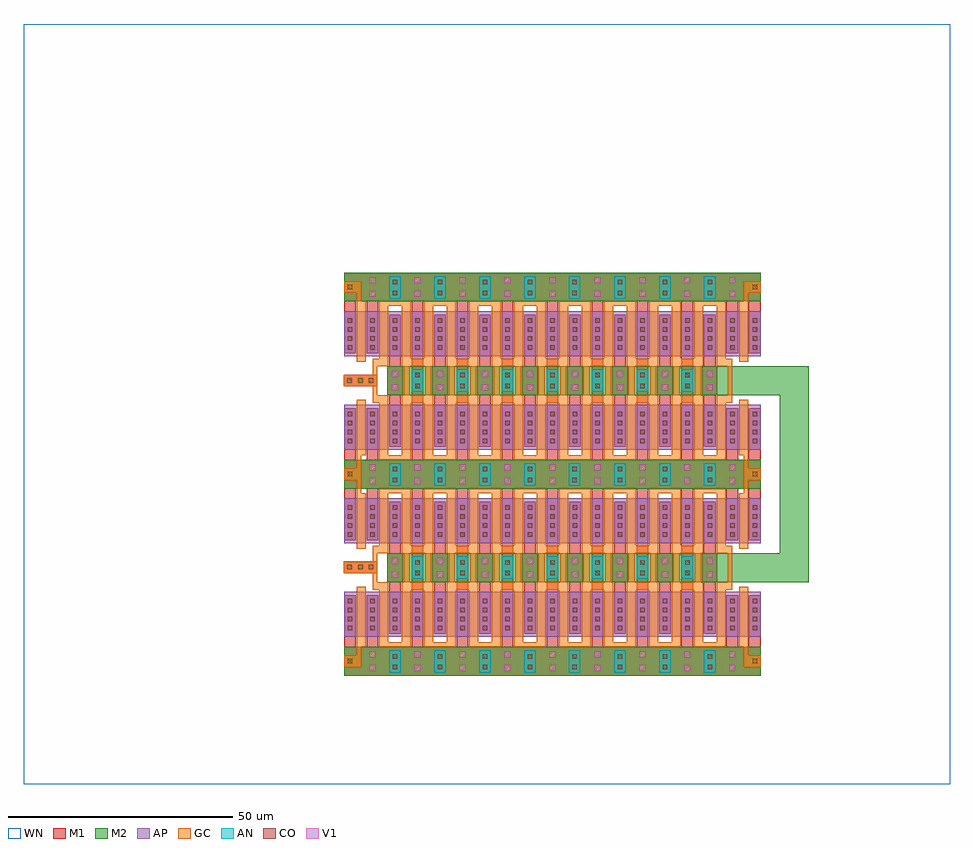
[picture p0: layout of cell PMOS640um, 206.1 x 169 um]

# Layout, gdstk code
import gdstk
lib = gdstk.Library(unit=1e-6, precision=1e-09)
def R(c, l, rs):  # rectangles x0, y0, x1, y1
    for r in rs: c.add(gdstk.rectangle(r[:2], r[2:], *l))
def A(c, l, x, y, w, h, nx, ny, dx, dy):  # array of equal rectangles
    R(c, l, [(x+i*dx, y+j*dy, x+i*dx+w, y+j*dy+h) for i in range(nx) for j in range(ny)])
AP = (3, 1)
AN = (3, 2)
GC = (8, 1)
CO = (11, 0)
M1 = (13, 0)
V1 = (19, 0)
M2 = (20, 0)
WN = (140, 0)

via_1 = lib.new_cell('via_1')
R(via_1, M1, [(-1.7,-1.7,1.7,1.7)])
R(via_1, V1, [(-0.7,-0.7,0.7,0.7)])
R(via_1, M2, [(-1.7,-1.7,1.7,1.7)])

cont_n = lib.new_cell('cont_n')
R(cont_n, AN, [(-1.3,-1.3,1.3,1.3)])
R(cont_n, CO, [(-0.5,-0.5,0.5,0.5)])
R(cont_n, M1, [(-1.3,-1.3,1.3,1.3)])

via_1_1 = lib.new_cell('via_1$1')
R(via_1_1, M1, [(-1.7,-1.7,1.7,1.7)])
R(via_1_1, V1, [(-0.7,-0.7,0.7,0.7)])
R(via_1_1, M2, [(-1.7,-1.7,1.7,1.7)])

fet_p_2 = lib.new_cell('fet_p$2')
R(fet_p_2, AP, [(-3.8,-5,3.8,5)])
A(fet_p_2, CO, -3, -3.5, 1, 1, 1, 4, 0, 2)
A(fet_p_2, CO, 2, -3.5, 1, 1, 1, 4, 0, 2)
R(fet_p_2, M1, [(-3.8,-4.3,-1.2,4.3), (1.2,-4.3,3.8,4.3)])
fet_p_2.add(gdstk.FlexPath([(0,-6.2),(0,6.2)], 2, ends="flush", simple_path=True, layer=8, datatype=1))  # GC

fet_p = lib.new_cell('fet_p')
R(fet_p, AP, [(-41.3,-5,41.3,5)])
A(fet_p, CO, -40.5, -3.5, 1, 1, 17, 4, 5, 2)
A(fet_p, M1, -41.3, -4.3, 2.6, 8.6, 17, 1, 5, 0)
fet_p.add(gdstk.FlexPath([(2.5,-6.2),(2.5,6.2)], 2, ends="flush", simple_path=True, layer=8, datatype=1))  # GC
fet_p.add(gdstk.FlexPath([(-2.5,-6.2),(-2.5,6.2)], 2, ends="flush", simple_path=True, layer=8, datatype=1))  # GC
fet_p.add(gdstk.FlexPath([(7.5,-6.2),(7.5,6.2)], 2, ends="flush", simple_path=True, layer=8, datatype=1))  # GC
fet_p.add(gdstk.FlexPath([(-7.5,-6.2),(-7.5,6.2)], 2, ends="flush", simple_path=True, layer=8, datatype=1))  # GC
fet_p.add(gdstk.FlexPath([(12.5,-6.2),(12.5,6.2)], 2, ends="flush", simple_path=True, layer=8, datatype=1))  # GC
fet_p.add(gdstk.FlexPath([(-12.5,-6.2),(-12.5,6.2)], 2, ends="flush", simple_path=True, layer=8, datatype=1))  # GC
fet_p.add(gdstk.FlexPath([(17.5,-6.2),(17.5,6.2)], 2, ends="flush", simple_path=True, layer=8, datatype=1))  # GC
fet_p.add(gdstk.FlexPath([(-17.5,-6.2),(-17.5,6.2)], 2, ends="flush", simple_path=True, layer=8, datatype=1))  # GC
fet_p.add(gdstk.FlexPath([(22.5,-6.2),(22.5,6.2)], 2, ends="flush", simple_path=True, layer=8, datatype=1))  # GC
fet_p.add(gdstk.FlexPath([(-22.5,-6.2),(-22.5,6.2)], 2, ends="flush", simple_path=True, layer=8, datatype=1))  # GC
fet_p.add(gdstk.FlexPath([(27.5,-6.2),(27.5,6.2)], 2, ends="flush", simple_path=True, layer=8, datatype=1))  # GC
fet_p.add(gdstk.FlexPath([(-27.5,-6.2),(-27.5,6.2)], 2, ends="flush", simple_path=True, layer=8, datatype=1))  # GC
fet_p.add(gdstk.FlexPath([(32.5,-6.2),(32.5,6.2)], 2, ends="flush", simple_path=True, layer=8, datatype=1))  # GC
fet_p.add(gdstk.FlexPath([(-32.5,-6.2),(-32.5,6.2)], 2, ends="flush", simple_path=True, layer=8, datatype=1))  # GC
fet_p.add(gdstk.FlexPath([(37.5,-6.2),(37.5,6.2)], 2, ends="flush", simple_path=True, layer=8, datatype=1))  # GC
fet_p.add(gdstk.FlexPath([(-37.5,-6.2),(-37.5,6.2)], 2, ends="flush", simple_path=True, layer=8, datatype=1))  # GC

pmos320um = lib.new_cell('PMOS320um')
A(pmos320um, GC, -38.5, -17.6, 7, 1, 8, 2, 10, 34.2)
A(pmos320um, GC, -33.5, -4.9, 7, 1.7, 7, 2, 10, 8.1)
R(pmos320um, GC, [(-40,-4.9,-36.5,-3.2), (36.5,-4.9,40,-3.2), (-40,3.2,-36.5,4.9), (36.5,3.2,40,4.9)])
pmos320um.add(gdstk.FlexPath([(40,-17.6),(40,-14.7)], 2.6, ends="flush", simple_path=True, layer=13, datatype=0))  # M1
pmos320um.add(gdstk.FlexPath([(45,-17.6),(45,-14.7)], 2.6, ends="flush", simple_path=True, layer=13, datatype=0))  # M1
pmos320um.add(gdstk.FlexPath([(-10,-17.6),(-10,-14.7)], 2.6, ends="flush", simple_path=True, layer=13, datatype=0))  # M1
pmos320um.add(gdstk.FlexPath([(-30,-17.6),(-30,-14.7)], 2.6, ends="flush", simple_path=True, layer=13, datatype=0))  # M1
pmos320um.add(gdstk.FlexPath([(-20,-17.6),(-20,-14.7)], 2.6, ends="flush", simple_path=True, layer=13, datatype=0))  # M1
pmos320um.add(gdstk.FlexPath([(-45,-17.6),(-45,-14.7)], 2.6, ends="flush", simple_path=True, layer=13, datatype=0))  # M1
pmos320um.add(gdstk.FlexPath([(-40,-17.6),(-40,-14.7)], 2.6, ends="flush", simple_path=True, layer=13, datatype=0))  # M1
pmos320um.add(gdstk.FlexPath([(0,-17.6),(0,-14.7)], 2.6, ends="flush", simple_path=True, layer=13, datatype=0))  # M1
pmos320um.add(gdstk.FlexPath([(20,-17.6),(20,-14.7)], 2.6, ends="flush", simple_path=True, layer=13, datatype=0))  # M1
pmos320um.add(gdstk.FlexPath([(30,-17.6),(30,-14.7)], 2.6, ends="flush", simple_path=True, layer=13, datatype=0))  # M1
pmos320um.add(gdstk.FlexPath([(10,-17.6),(10,-14.7)], 2.6, ends="flush", simple_path=True, layer=13, datatype=0))  # M1
pmos320um.add(gdstk.FlexPath([(30,-6.1),(30,-2.5),(30,-2.5)], 2.6, ends="flush", simple_path=True, layer=13, datatype=0))  # M1
pmos320um.add(gdstk.FlexPath([(30,2.5),(30,6.1)], 2.6, ends="flush", simple_path=True, layer=13, datatype=0))  # M1
pmos320um.add(gdstk.FlexPath([(20,-6.1),(20,-2.5),(20,-2.5)], 2.6, ends="flush", simple_path=True, layer=13, datatype=0))  # M1
pmos320um.add(gdstk.FlexPath([(20,2.5),(20,6.1)], 2.6, ends="flush", simple_path=True, layer=13, datatype=0))  # M1
pmos320um.add(gdstk.FlexPath([(10,-6.1),(10,-2.5),(10,-2.5)], 2.6, ends="flush", simple_path=True, layer=13, datatype=0))  # M1
pmos320um.add(gdstk.FlexPath([(10,2.5),(10,6.1)], 2.6, ends="flush", simple_path=True, layer=13, datatype=0))  # M1
pmos320um.add(gdstk.FlexPath([(0,-6.1),(0,-2.5),(0,-2.5)], 2.6, ends="flush", simple_path=True, layer=13, datatype=0))  # M1
pmos320um.add(gdstk.FlexPath([(0,2.5),(0,6.1)], 2.6, ends="flush", simple_path=True, layer=13, datatype=0))  # M1
pmos320um.add(gdstk.FlexPath([(-10,-6.1),(-10,-2.5),(-10,-2.5)], 2.6, ends="flush", simple_path=True, layer=13, datatype=0))  # M1
pmos320um.add(gdstk.FlexPath([(-10,2.5),(-10,6.1)], 2.6, ends="flush", simple_path=True, layer=13, datatype=0))  # M1
pmos320um.add(gdstk.FlexPath([(-20,-6.1),(-20,-2.5),(-20,-2.5)], 2.6, ends="flush", simple_path=True, layer=13, datatype=0))  # M1
pmos320um.add(gdstk.FlexPath([(-20,2.5),(-20,6.1)], 2.6, ends="flush", simple_path=True, layer=13, datatype=0))  # M1
pmos320um.add(gdstk.FlexPath([(-30,-6.1),(-30,-2.5),(-30,-2.5)], 2.6, ends="flush", simple_path=True, layer=13, datatype=0))  # M1
pmos320um.add(gdstk.FlexPath([(-30,2.5),(-30,6.1)], 2.6, ends="flush", simple_path=True, layer=13, datatype=0))  # M1
pmos320um.add(gdstk.FlexPath([(-40,18.5),(-40,14.7)], 2.6, ends="flush", simple_path=True, layer=13, datatype=0))  # M1
pmos320um.add(gdstk.FlexPath([(-45,18.5),(-45,14.7)], 2.6, ends="flush", simple_path=True, layer=13, datatype=0))  # M1
pmos320um.add(gdstk.FlexPath([(-30,14.7),(-30,18.5)], 2.6, ends="flush", simple_path=True, layer=13, datatype=0))  # M1
pmos320um.add(gdstk.FlexPath([(-20,18.5),(-20,14.7)], 2.6, ends="flush", simple_path=True, layer=13, datatype=0))  # M1
pmos320um.add(gdstk.FlexPath([(-10,18.5),(-10,14.7)], 2.6, ends="flush", simple_path=True, layer=13, datatype=0))  # M1
pmos320um.add(gdstk.FlexPath([(0,14.7),(0,18.5)], 2.6, ends="flush", simple_path=True, layer=13, datatype=0))  # M1
pmos320um.add(gdstk.FlexPath([(10,18.5),(10,14.7)], 2.6, ends="flush", simple_path=True, layer=13, datatype=0))  # M1
pmos320um.add(gdstk.FlexPath([(20,14.7),(20,18.5)], 2.6, ends="flush", simple_path=True, layer=13, datatype=0))  # M1
pmos320um.add(gdstk.FlexPath([(30,18.5),(30,14.7)], 2.6, ends="flush", simple_path=True, layer=13, datatype=0))  # M1
pmos320um.add(gdstk.FlexPath([(40,18.5),(40,14.7)], 2.6, ends="flush", simple_path=True, layer=13, datatype=0))  # M1
pmos320um.add(gdstk.FlexPath([(45,14.7),(45,18.5)], 2.6, ends="flush", simple_path=True, layer=13, datatype=0))  # M1
pmos320um.add(gdstk.FlexPath([(35,-6.1),(35,-3.2)], 2.6, ends="flush", simple_path=True, layer=13, datatype=0))  # M1
pmos320um.add(gdstk.FlexPath([(35,3.2),(35,6.1)], 2.6, ends="flush", simple_path=True, layer=13, datatype=0))  # M1
pmos320um.add(gdstk.FlexPath([(25,-6.1),(25,-3.2)], 2.6, ends="flush", simple_path=True, layer=13, datatype=0))  # M1
pmos320um.add(gdstk.FlexPath([(25,3.2),(25,6.1)], 2.6, ends="flush", simple_path=True, layer=13, datatype=0))  # M1
pmos320um.add(gdstk.FlexPath([(15,-6.1),(15,-3.2)], 2.6, ends="flush", simple_path=True, layer=13, datatype=0))  # M1
pmos320um.add(gdstk.FlexPath([(15,3.2),(15,6.1)], 2.6, ends="flush", simple_path=True, layer=13, datatype=0))  # M1
pmos320um.add(gdstk.FlexPath([(5,-6.1),(5,-3.2)], 2.6, ends="flush", simple_path=True, layer=13, datatype=0))  # M1
pmos320um.add(gdstk.FlexPath([(5,3.2),(5,6.1)], 2.6, ends="flush", simple_path=True, layer=13, datatype=0))  # M1
pmos320um.add(gdstk.FlexPath([(-5,-6.1),(-5,-3.2)], 2.6, ends="flush", simple_path=True, layer=13, datatype=0))  # M1
pmos320um.add(gdstk.FlexPath([(-5,3.2),(-5,6.1)], 2.6, ends="flush", simple_path=True, layer=13, datatype=0))  # M1
pmos320um.add(gdstk.FlexPath([(-15,-6.1),(-15,-3.2)], 2.6, ends="flush", simple_path=True, layer=13, datatype=0))  # M1
pmos320um.add(gdstk.FlexPath([(-15,3.2),(-15,6.1)], 2.6, ends="flush", simple_path=True, layer=13, datatype=0))  # M1
pmos320um.add(gdstk.FlexPath([(-25,3.2),(-25,6.1)], 2.6, ends="flush", simple_path=True, layer=13, datatype=0))  # M1
pmos320um.add(gdstk.FlexPath([(-25,-6.1),(-25,-3.2)], 2.6, ends="flush", simple_path=True, layer=13, datatype=0))  # M1
pmos320um.add(gdstk.FlexPath([(-35,-6.1),(-35,-3.2)], 2.6, ends="flush", simple_path=True, layer=13, datatype=0))  # M1
pmos320um.add(gdstk.FlexPath([(-35,3.2),(-35,6.1)], 2.6, ends="flush", simple_path=True, layer=13, datatype=0))  # M1
pmos320um.add(gdstk.FlexPath([(-36.7,0),(36.7,0),(36.7,0)], 6.4, ends="flush", simple_path=True, layer=20, datatype=0))  # M2
pmos320um.add(gdstk.FlexPath([(-39.5,-3.2),(-39.5,3.2)], 1, ends="flush", simple_path=True, layer=8, datatype=1))  # GC
pmos320um.add(gdstk.FlexPath([(39.5,-3.2),(39.5,3.2)], 1, ends="flush", simple_path=True, layer=8, datatype=1))  # GC
pmos320um.add(gdstk.FlexPath([(17.6,-3.2),(17.6,3.2),(17.6,3.2)], 1.4, ends="flush", simple_path=True, layer=8, datatype=1))  # GC
pmos320um.add(gdstk.FlexPath([(22.4,-3.2),(22.4,3.2),(22.4,3.2)], 1.4, ends="flush", simple_path=True, layer=8, datatype=1))  # GC
pmos320um.add(gdstk.FlexPath([(7.6,-3.2),(7.6,3.2),(7.6,3.2)], 1.4, ends="flush", simple_path=True, layer=8, datatype=1))  # GC
pmos320um.add(gdstk.FlexPath([(12.4,-3.2),(12.4,3.2),(12.4,3.2)], 1.4, ends="flush", simple_path=True, layer=8, datatype=1))  # GC
pmos320um.add(gdstk.FlexPath([(27.6,-3.2),(27.6,3.2),(27.6,3.2)], 1.4, ends="flush", simple_path=True, layer=8, datatype=1))  # GC
pmos320um.add(gdstk.FlexPath([(32.4,-3.2),(32.4,3.2),(32.4,3.2)], 1.4, ends="flush", simple_path=True, layer=8, datatype=1))  # GC
pmos320um.add(gdstk.FlexPath([(-2.4,-3.2),(-2.4,3.2),(-2.4,3.2)], 1.4, ends="flush", simple_path=True, layer=8, datatype=1))  # GC
pmos320um.add(gdstk.FlexPath([(2.4,-3.2),(2.4,3.2),(2.4,3.2)], 1.4, ends="flush", simple_path=True, layer=8, datatype=1))  # GC
pmos320um.add(gdstk.FlexPath([(-12.4,-3.2),(-12.4,3.2),(-12.4,3.2)], 1.4, ends="flush", simple_path=True, layer=8, datatype=1))  # GC
pmos320um.add(gdstk.FlexPath([(-7.6,-3.2),(-7.6,3.2),(-7.6,3.2)], 1.4, ends="flush", simple_path=True, layer=8, datatype=1))  # GC
pmos320um.add(gdstk.FlexPath([(-22.4,-3.2),(-22.4,3.2),(-22.4,3.2)], 1.4, ends="flush", simple_path=True, layer=8, datatype=1))  # GC
pmos320um.add(gdstk.FlexPath([(-17.6,-3.2),(-17.6,3.2),(-17.6,3.2)], 1.4, ends="flush", simple_path=True, layer=8, datatype=1))  # GC
pmos320um.add(gdstk.FlexPath([(-32.4,-3.2),(-32.4,3.2),(-32.4,3.2)], 1.4, ends="flush", simple_path=True, layer=8, datatype=1))  # GC
pmos320um.add(gdstk.FlexPath([(-27.6,-3.2),(-27.6,3.2),(-27.6,3.2)], 1.4, ends="flush", simple_path=True, layer=8, datatype=1))  # GC
r = gdstk.Reference(cont_n, (30,-1.2)); r.repetition = gdstk.Repetition(1, 2, v1=(0,0), v2=(0,2.4)); pmos320um.add(r)
r = gdstk.Reference(via_1_1, (-35,1.5), x_reflection=True); r.repetition = gdstk.Repetition(8, 2, v1=(10,0), v2=(0,-3)); pmos320um.add(r)
pmos320um.add(gdstk.Reference(fet_p_2, (-42.5,10.4)))
pmos320um.add(gdstk.Reference(fet_p_2, (42.5,10.4)))
pmos320um.add(gdstk.Reference(fet_p, (0,10.4)))
pmos320um.add(gdstk.Reference(fet_p_2, (-42.5,-10.4), x_reflection=True))
pmos320um.add(gdstk.Reference(fet_p_2, (42.5,-10.4), x_reflection=True))
r = gdstk.Reference(cont_n, (20,-1.2)); r.repetition = gdstk.Repetition(1, 2, v1=(0,0), v2=(0,2.4)); pmos320um.add(r)
r = gdstk.Reference(cont_n, (10,-1.2)); r.repetition = gdstk.Repetition(1, 2, v1=(0,0), v2=(0,2.4)); pmos320um.add(r)
r = gdstk.Reference(cont_n, (0,-1.2)); r.repetition = gdstk.Repetition(1, 2, v1=(0,0), v2=(0,2.4)); pmos320um.add(r)
pmos320um.add(gdstk.Reference(fet_p, (0,-10.4), x_reflection=True))
r = gdstk.Reference(cont_n, (-10,-1.2)); r.repetition = gdstk.Repetition(1, 2, v1=(0,0), v2=(0,2.4)); pmos320um.add(r)
r = gdstk.Reference(cont_n, (-20,-1.2)); r.repetition = gdstk.Repetition(1, 2, v1=(0,0), v2=(0,2.4)); pmos320um.add(r)
r = gdstk.Reference(cont_n, (-30,-1.2)); r.repetition = gdstk.Repetition(1, 2, v1=(0,0), v2=(0,2.4)); pmos320um.add(r)

cont_n_1 = lib.new_cell('cont_n$1')
R(cont_n_1, AN, [(-1.3,-1.3,1.3,1.3)])
R(cont_n_1, CO, [(-0.5,-0.5,0.5,0.5)])
R(cont_n_1, M1, [(-1.3,-1.3,1.3,1.3)])

cont_g = lib.new_cell('cont_g')
R(cont_g, GC, [(-1.3,-1.3,1.3,1.3)])
R(cont_g, CO, [(-0.5,-0.5,0.5,0.5)])
R(cont_g, M1, [(-1.3,-1.3,1.3,1.3)])

pmos640um = lib.new_cell('PMOS640um')
A(pmos640um, GC, -43.7, -63.7, 0.2, 2.6, 1, 3, 0, 41.6)
A(pmos640um, GC, 43.5, -63.7, 0.2, 2.6, 1, 3, 0, 41.6)
R(pmos640um, GC, [(-43.5,-63.7,-42.5,-58.2), (42.5,-63.7,43.5,-58.2), (-42.5,-59.2,-41.5,-58.2), (41.5,-59.2,42.5,-58.2), (-43.5,-25,-42.5,-16.6), (42.5,-25,43.5,-16.6), (-43.5,16.6,-42.5,22.1), (-42.5,16.6,-41.5,17.6), (41.5,16.6,42.5,17.6), (42.5,16.6,43.5,22.1)])
A(pmos640um, M1, -46.3, -65.6, 4.6, 6.4, 1, 3, 0, 41.6)
A(pmos640um, M1, 41.7, -65.6, 4.6, 6.4, 1, 3, 0, 41.6)
R(pmos640um, WN, [(-117.6,-89.7,88.5,79.3)])
pmos640um.add(gdstk.FlexPath([(-41.7,-20.8),(41.7,-20.8)], 6.4, ends="flush", simple_path=True, layer=13, datatype=0))  # M1
pmos640um.add(gdstk.FlexPath([(-41.7,20.8),(41.7,20.8)], 6.4, ends="flush", simple_path=True, layer=13, datatype=0))  # M1
pmos640um.add(gdstk.FlexPath([(-41.7,-62.4),(41.7,-62.4)], 6.4, ends="flush", simple_path=True, layer=13, datatype=0))  # M1
pmos640um.add(gdstk.FlexPath([(-46.3,-20.8),(46.3,-20.8)], 6.4, ends="flush", simple_path=True, layer=20, datatype=0))  # M2
pmos640um.add(gdstk.FlexPath([(36.7,-41.6),(56.7,-41.6),(57,-41.6)], 6.4, ends="flush", simple_path=True, layer=20, datatype=0))  # M2
pmos640um.add(gdstk.FlexPath([(36.7,0),(57,0)], 6.4, ends="flush", simple_path=True, layer=20, datatype=0))  # M2
pmos640um.add(gdstk.FlexPath([(53.8,-44.8),(53.8,3.2)], 6.4, ends="flush", simple_path=True, layer=20, datatype=0))  # M2
pmos640um.add(gdstk.FlexPath([(-46.3,20.8),(46.3,20.8)], 6.4, ends="flush", simple_path=True, layer=20, datatype=0))  # M2
pmos640um.add(gdstk.FlexPath([(-46.3,-62.4),(46.3,-62.4)], 6.4, ends="flush", simple_path=True, layer=20, datatype=0))  # M2
r = gdstk.Reference(via_1, (-40,-19.3), x_reflection=True); r.repetition = gdstk.Repetition(9, 2, v1=(10,0), v2=(0,-3)); pmos640um.add(r)
pmos640um.add(gdstk.Reference(pmos320um, (0,0)))
pmos640um.add(gdstk.Reference(pmos320um, (0,-41.6), x_reflection=True))
r = gdstk.Reference(cont_n_1, (-15,-22.1)); r.repetition = gdstk.Repetition(1, 2, v1=(0,0), v2=(0,2.4)); pmos640um.add(r)
r = gdstk.Reference(cont_g, (-45.1,0)); r.repetition = gdstk.Repetition(3, 1, v1=(2.4,0), v2=(0,0)); pmos640um.add(r)
r = gdstk.Reference(cont_g, (-45.1,-41.5)); r.repetition = gdstk.Repetition(3, 1, v1=(2.4,0), v2=(0,0)); pmos640um.add(r)
r = gdstk.Reference(cont_n_1, (-25,-22.1)); r.repetition = gdstk.Repetition(1, 2, v1=(0,0), v2=(0,2.4)); pmos640um.add(r)
r = gdstk.Reference(cont_n_1, (-35,-22.1)); r.repetition = gdstk.Repetition(1, 2, v1=(0,0), v2=(0,2.4)); pmos640um.add(r)
r = gdstk.Reference(cont_n_1, (-5,-22.1)); r.repetition = gdstk.Repetition(1, 2, v1=(0,0), v2=(0,2.4)); pmos640um.add(r)
r = gdstk.Reference(cont_n_1, (4.9,-22.1)); r.repetition = gdstk.Repetition(1, 2, v1=(0,0), v2=(0,2.4)); pmos640um.add(r)
r = gdstk.Reference(cont_n_1, (15,-22.1)); r.repetition = gdstk.Repetition(1, 2, v1=(0,0), v2=(0,2.4)); pmos640um.add(r)
r = gdstk.Reference(cont_n_1, (25,-22.1)); r.repetition = gdstk.Repetition(1, 2, v1=(0,0), v2=(0,2.4)); pmos640um.add(r)
r = gdstk.Reference(cont_n_1, (35,-22.1)); r.repetition = gdstk.Repetition(1, 2, v1=(0,0), v2=(0,2.4)); pmos640um.add(r)
r = gdstk.Reference(cont_n_1, (-15,-22.1)); r.repetition = gdstk.Repetition(1, 2, v1=(0,0), v2=(0,2.4)); pmos640um.add(r)
pmos640um.add(gdstk.Reference(cont_g, (-45,-20.8)))
r = gdstk.Reference(via_1, (-40,22.3), x_reflection=True); r.repetition = gdstk.Repetition(9, 2, v1=(10,0), v2=(0,-3)); pmos640um.add(r)
r = gdstk.Reference(cont_n_1, (-15,19.5)); r.repetition = gdstk.Repetition(1, 2, v1=(0,0), v2=(0,2.4)); pmos640um.add(r)
r = gdstk.Reference(cont_n_1, (-25,19.5)); r.repetition = gdstk.Repetition(1, 2, v1=(0,0), v2=(0,2.4)); pmos640um.add(r)
r = gdstk.Reference(cont_n_1, (-35,19.5)); r.repetition = gdstk.Repetition(1, 2, v1=(0,0), v2=(0,2.4)); pmos640um.add(r)
r = gdstk.Reference(cont_n_1, (-5,19.5)); r.repetition = gdstk.Repetition(1, 2, v1=(0,0), v2=(0,2.4)); pmos640um.add(r)
r = gdstk.Reference(cont_n_1, (4.9,19.5)); r.repetition = gdstk.Repetition(1, 2, v1=(0,0), v2=(0,2.4)); pmos640um.add(r)
r = gdstk.Reference(cont_n_1, (15,19.5)); r.repetition = gdstk.Repetition(1, 2, v1=(0,0), v2=(0,2.4)); pmos640um.add(r)
r = gdstk.Reference(cont_n_1, (25,19.5)); r.repetition = gdstk.Repetition(1, 2, v1=(0,0), v2=(0,2.4)); pmos640um.add(r)
r = gdstk.Reference(cont_n_1, (35,19.5)); r.repetition = gdstk.Repetition(1, 2, v1=(0,0), v2=(0,2.4)); pmos640um.add(r)
r = gdstk.Reference(cont_n_1, (-15,19.5)); r.repetition = gdstk.Repetition(1, 2, v1=(0,0), v2=(0,2.4)); pmos640um.add(r)
pmos640um.add(gdstk.Reference(cont_g, (-45,20.8)))
pmos640um.add(gdstk.Reference(cont_g, (45,-20.8)))
pmos640um.add(gdstk.Reference(cont_g, (45,20.8), x_reflection=True))
r = gdstk.Reference(via_1, (-40,-60.9), x_reflection=True); r.repetition = gdstk.Repetition(9, 2, v1=(10,0), v2=(0,-3)); pmos640um.add(r)
r = gdstk.Reference(cont_n_1, (-15,-63.7)); r.repetition = gdstk.Repetition(1, 2, v1=(0,0), v2=(0,2.4)); pmos640um.add(r)
r = gdstk.Reference(cont_n_1, (-25,-63.7)); r.repetition = gdstk.Repetition(1, 2, v1=(0,0), v2=(0,2.4)); pmos640um.add(r)
r = gdstk.Reference(cont_n_1, (-35,-63.7)); r.repetition = gdstk.Repetition(1, 2, v1=(0,0), v2=(0,2.4)); pmos640um.add(r)
r = gdstk.Reference(cont_n_1, (-5,-63.7)); r.repetition = gdstk.Repetition(1, 2, v1=(0,0), v2=(0,2.4)); pmos640um.add(r)
r = gdstk.Reference(cont_n_1, (4.9,-63.7)); r.repetition = gdstk.Repetition(1, 2, v1=(0,0), v2=(0,2.4)); pmos640um.add(r)
r = gdstk.Reference(cont_n_1, (15,-63.7)); r.repetition = gdstk.Repetition(1, 2, v1=(0,0), v2=(0,2.4)); pmos640um.add(r)
r = gdstk.Reference(cont_n_1, (25,-63.7)); r.repetition = gdstk.Repetition(1, 2, v1=(0,0), v2=(0,2.4)); pmos640um.add(r)
r = gdstk.Reference(cont_n_1, (35,-63.7)); r.repetition = gdstk.Repetition(1, 2, v1=(0,0), v2=(0,2.4)); pmos640um.add(r)
r = gdstk.Reference(cont_n_1, (-15,-63.7)); r.repetition = gdstk.Repetition(1, 2, v1=(0,0), v2=(0,2.4)); pmos640um.add(r)
pmos640um.add(gdstk.Reference(cont_g, (-45,-62.4)))
pmos640um.add(gdstk.Reference(cont_g, (45,-62.4)))

lib.write_gds('PMOS640um.gds')
